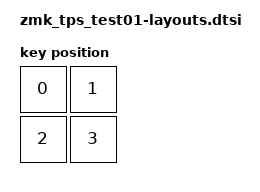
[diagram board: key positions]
// See https://zmk.dev/docs/development/hardware-integration/physical-layouts
// for how to configure this.

#include <physical_layouts.dtsi>

/ {
    default_layout: default_layout {
        compatible = "zmk,physical-layout";
        display-name = "Default Layout";
        transform = <&default_transform>;
        kscan = <&kscan>;

        // Edit this to define the positions and sizes of the keys, or remove it
        // if your keyboard will not support ZMK Studio.
        // https://zmk.dev/docs/development/hardware-integration/physical-layouts#optional-keys-property
        keys  //                     w   h    x    y     rot    rx    ry
            = <&key_physical_attrs 100 100    0    0       0     0     0>
            , <&key_physical_attrs 100 100  100    0       0     0     0>
            , <&key_physical_attrs 100 100    0  100       0     0     0>
            , <&key_physical_attrs 100 100  100  100       0     0     0>
            ;
    };
};

/ {
    tps43_input: tps43_input {
        compatible = "zmk,input-listener";
        device = <&tps43>;
    };
};

&arduino_i2c {
    status = "okay";
    tps43: iqs5xx@74 {
        status = "okay";
        compatible = "azoteq,iqs5xx";
        reg = <0x74>;

        reset-gpios = <&arduino_header 14 GPIO_ACTIVE_LOW>;
        rdy-gpios = <&arduino_header 15 GPIO_ACTIVE_HIGH>;

        /*
         * Potentially non-exhaustive list of configuration options.
         * See: dts/bindings/input/azoteq,iqs5xx-common.yaml for a full list.
         */
        one-finger-tap;
        press-and-hold;
        press-and-hold-time = <250>;
        two-finger-tap;

        scroll;
        natural-scroll-y;
        natural-scroll-x;

        bottom-beta = <5>;
        stationary-threshold = <5>;

        switch-xy;
    };
};
